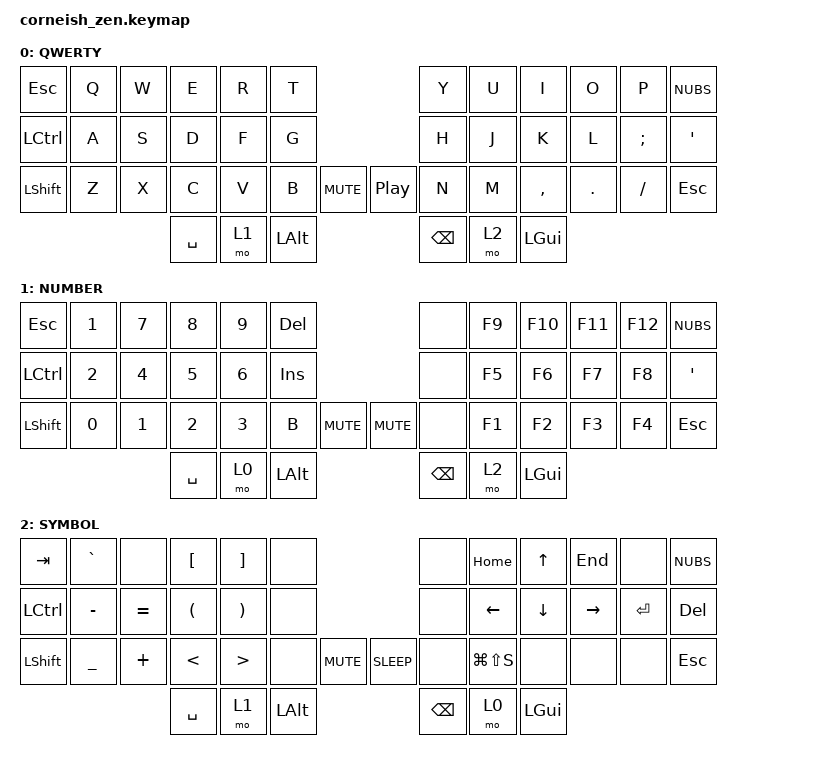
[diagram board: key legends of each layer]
/*
 * Copyright (c) 2020 The ZMK Contributors
 *
 * SPDX-License-Identifier: MIT
 */

#include <behaviors.dtsi>
#include <dt-bindings/zmk/bt.h>
#include <dt-bindings/zmk/ext_power.h>
#include <dt-bindings/zmk/keys.h>
#include <dt-bindings/zmk/outputs.h>
#include <dt-bindings/zmk/rgb.h>

/ {
    chosen {
        zmk,matrix_transform = &default_transform;
        // zmk,matrix_transform = &five_column_transform;
    };
};

/ {
    keymap {
        compatible = "zmk,keymap";

        QWER {
            display-name = "QWERTY";
            bindings = <
                &kp ESC    &kp Q      &kp W      &kp E      &kp R      &kp T                              &kp Y      &kp U      &kp I      &kp O      &kp P      &kp NUBS
                &kp LCTRL  &kp A      &kp S      &kp D      &kp F      &kp G                              &kp H      &kp J      &kp K      &kp L      &kp SEMI   &kp SQT
                &kp LSHFT  &kp Z      &kp X      &kp C      &kp V      &kp B      &kp C_MUTE  &kp C_PP    &kp N      &kp M      &kp COMMA  &kp DOT    &kp FSLH   &kp ESC
                                                 &kp SPACE  &mo 1      &kp LALT                           &kp BSPC   &mo 2      &kp LGUI
            >;
        };
        NUM {
            display-name = "NUMBER";
            bindings = <
                &kp ESC    &kp N1     &kp N7     &kp N8     &kp N9     &kp DEL                            &none      &kp F9     &kp F10    &kp F11    &kp F12    &kp NUBS
                &kp LCTRL  &kp N2     &kp N4     &kp N5     &kp N6     &kp INS                            &none      &kp F5     &kp F6     &kp F7     &kp F8     &kp SQT
                &kp LSHFT  &kp N0     &kp N1     &kp N2     &kp N3     &kp B      &kp C_MUTE  &kp C_MUTE  &none      &kp F1     &kp F2     &kp F3     &kp F4     &kp ESC
                                                 &kp SPACE  &mo 0      &kp LALT                           &kp BSPC   &mo 2      &kp LGUI
            >;
        };
        SYM {
            display-name = "SYMBOL";
            bindings = <
                &kp TAB    &kp GRAVE  &none      &kp LBKT   &kp RBKT    &none                               &none      &kp HOME      &kp UP     &kp END    &none      &kp NUBS
                &kp LCTRL  &kp MINUS  &kp EQUAL  &kp LPAR   &kp RPAR    &none                               &none      &kp LEFT      &kp DOWN   &kp RIGHT  &kp RET    &kp DEL
                &kp LSHFT  &kp UNDER  &kp PLUS   &kp LT     &kp GT      &none      &kp C_MUTE  &kp K_SLEEP  &none      &kp LG(LS(S)) &none      &none      &none      &kp ESC
                                                     &kp SPACE   &mo 1       &kp LALT                            &kp BSPC   &mo 0         &kp LGUI
            >;
        };
    };
};
